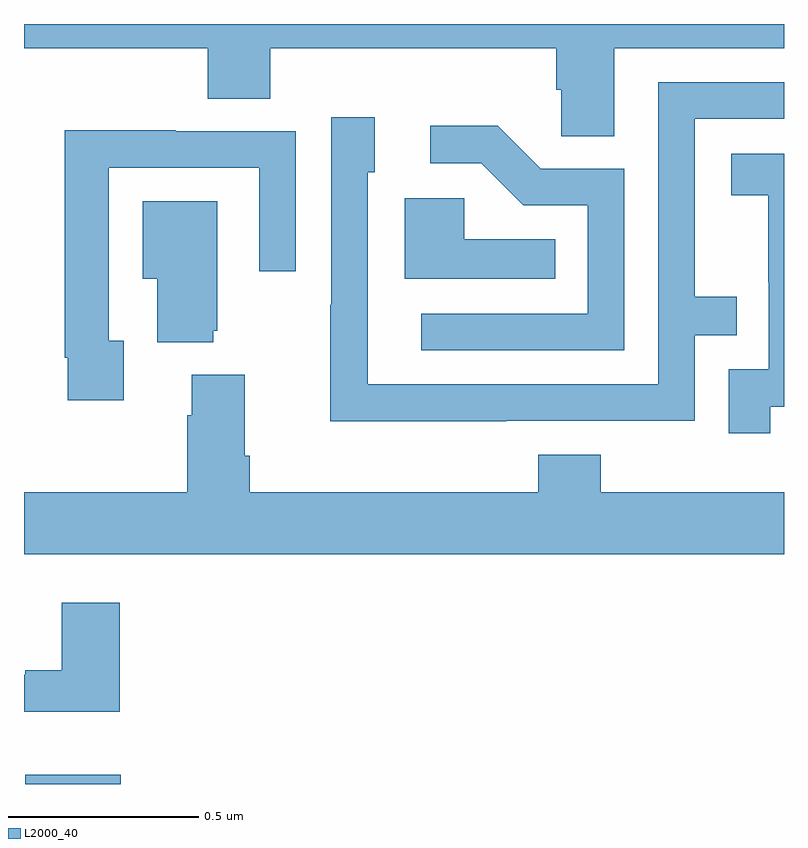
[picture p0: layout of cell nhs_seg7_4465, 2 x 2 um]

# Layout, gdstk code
import gdstk
lib = gdstk.Library(unit=1e-6, precision=1e-09)
def R(c, l, rs):  # rectangles x0, y0, x1, y1
    for r in rs: c.add(gdstk.rectangle(r[:2], r[2:], *l))
def P(c, l, *ps):  # polygons
    for p in ps: c.add(gdstk.Polygon(p, *l))
L2000_40 = (2000, 40)

nhs_seg7_4465 = lib.new_cell('nhs_seg7_4465')
R(nhs_seg7_4465, L2000_40, [(173.003,1012,173.254,1012.024)])
P(nhs_seg7_4465, L2000_40, [(174.553,1013.936),(175,1013.936),(175,1014),(173,1014),(173,1013.936),(173.483,1013.936),(173.483,1013.803),(173.648,1013.803),(173.648,1013.936),(174.401,1013.936),(174.401,1013.827),(174.414,1013.827),(174.414,1013.704),(174.553,1013.704)],
  [(174.269,1012.956),(174.765,1012.956),(174.765,1013.181),(174.875,1013.181),(174.875,1013.282),(174.765,1013.282),(174.765,1013.751),(175,1013.751),(175,1013.847),(174.669,1013.847),(174.669,1013.052),(173.905,1013.052),(173.905,1013.306),(173.904,1013.306),(173.904,1013.61),(173.923,1013.61),(173.923,1013.755),(173.808,1013.755),(173.808,1013.261),(173.806,1013.261),(173.806,1012.955),(174.269,1012.955)],
  [(174.579,1013.619),(174.36,1013.619),(174.247,1013.732),(174.069,1013.732),(174.069,1013.634),(174.203,1013.634),(174.314,1013.523),(174.483,1013.523),(174.483,1013.238),(174.045,1013.238),(174.045,1013.142),(174.579,1013.142)],
  [(173.263,1013.166),(173.223,1013.166),(173.223,1013.622),(173.619,1013.622),(173.619,1013.349),(173.715,1013.349),(173.715,1013.718),(173.399,1013.718),(173.399,1013.72),(173.107,1013.72),(173.107,1013.122),(173.115,1013.122),(173.115,1013.01),(173.263,1013.01)],
  [(174.964,1012.993),(175,1012.993),(175,1013.659),(174.861,1013.659),(174.861,1013.549),(174.959,1013.549),(174.959,1013.321),(174.96,1013.321),(174.96,1013.091),(174.855,1013.091),(174.855,1012.923),(174.964,1012.923)],
  [(174.398,1013.434),(174.159,1013.434),(174.159,1013.542),(174.002,1013.542),(174.002,1013.33),(174.398,1013.33)],
  [(173.498,1013.193),(173.509,1013.193),(173.509,1013.533),(173.312,1013.533),(173.312,1013.33),(173.351,1013.33),(173.351,1013.162),(173.498,1013.162)],
  [(174.353,1012.867),(174.353,1012.768),(173.594,1012.768),(173.594,1012.864),(173.581,1012.864),(173.581,1013.077),(173.441,1013.077),(173.441,1012.97),(173.429,1012.97),(173.429,1012.768),(173,1012.768),(173,1012.604),(175,1012.604),(175,1012.768),(174.518,1012.768),(174.518,1012.867)],
  [(173.252,1012.477),(173.099,1012.477),(173.099,1012.3),(173.003,1012.3),(173.003,1012.287),(173,1012.287),(173,1012.19),(173.252,1012.19)])

lib.write_gds('nhs_seg7_4465.gds')
